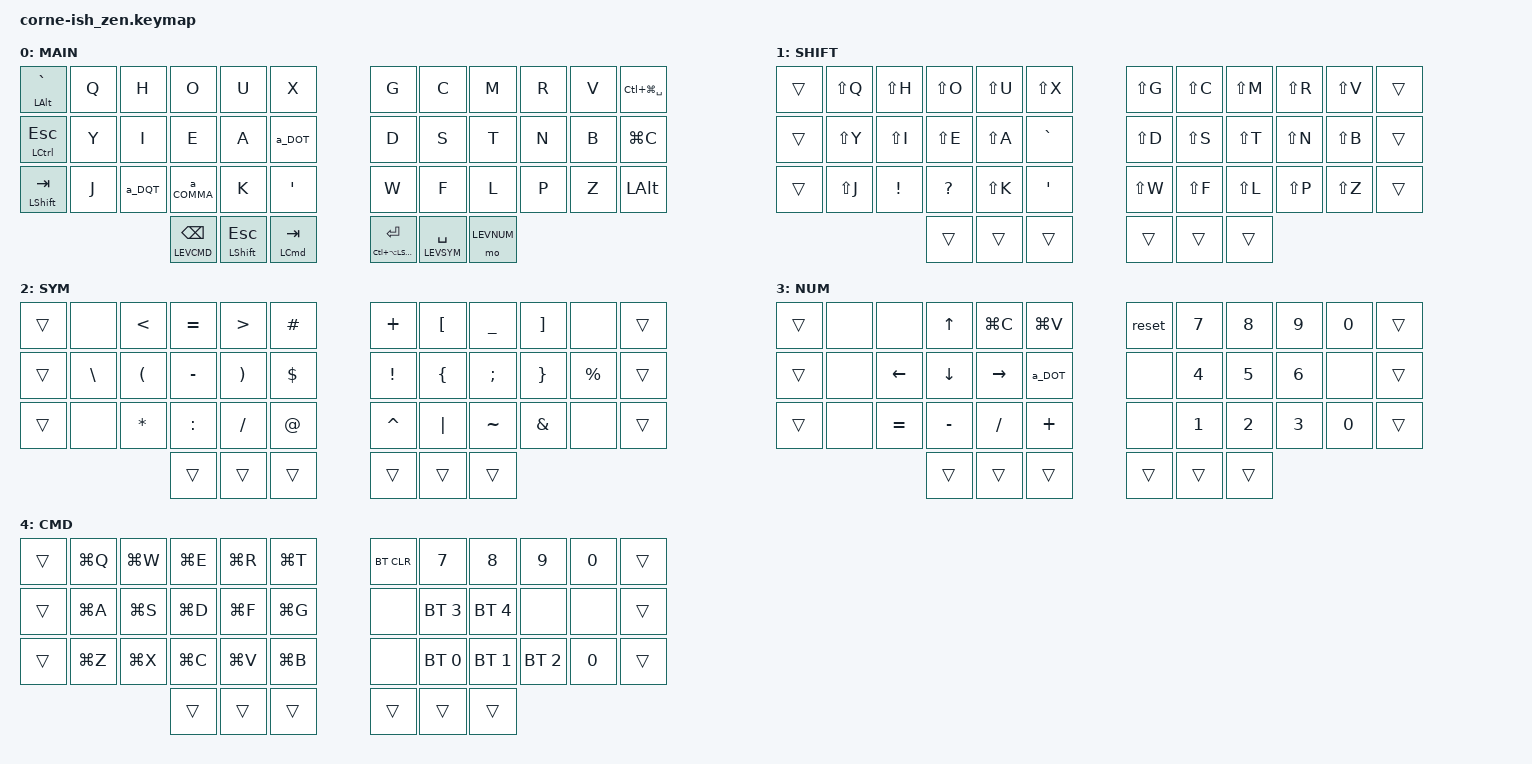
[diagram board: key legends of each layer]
/*
*
* Copyright (c) 2021 Darryl deHaan
* SPDX-License-Identifier: MIT
*
*/

#include <behaviors.dtsi>
#include <dt-bindings/zmk/keys.h>
#include <dt-bindings/zmk/bt.h>

#define LEVMAIN 0
#define LEVSHIFT 1
#define LEVSYM 2
#define LEVNUM 3
#define LEVCMD 4

&lt {
    quick-tap-ms = <300>;
};

/
{
        behaviors {
            a_DQT: a_DQT {
                compatible = "zmk,behavior-mod-morph";
                label = "a_DQT";
                #binding-cells = <0>;
                bindings = <&kp DQT>, <&kp EXCL>;
                mods = <(MOD_LSFT|MOD_RSFT)>;
            };
            a_COMMA: a_COMMA {
                compatible = "zmk,behavior-mod-morph";
                label = "a_COMMA";
                #binding-cells = <0>;
                bindings = <&kp COMMA>, <&kp QMARK>;
                mods = <(MOD_LSFT|MOD_RSFT)>;
            };
            a_DOT: a_DOT {
                compatible = "zmk,behavior-mod-morph";
                label = "a_DOT";
                #binding-cells = <0>;
                bindings = <&kp DOT>, <&kp GRAVE>;
                mods = <(MOD_LSFT|MOD_RSFT)>;
            };
        };


        keymap {
                compatible = "zmk,keymap";

                default_layer {
                        label = "MAIN";
                        bindings = <
&mt LALT GRAVE   &kp Q &kp H   &kp O     &kp U &kp X         &kp G   &kp C  &kp M  &kp R   &kp V    &kp LC(LG(SPACE))
&mt LCTRL ESC    &kp Y &kp I   &kp E     &kp A &a_DOT        &kp D   &kp S  &kp T  &kp N   &kp B    &kp LG(C)
&mt LSHIFT TAB   &kp J &a_DQT &a_COMMA &kp K &kp SQT         &kp W   &kp F  &kp L  &kp P   &kp Z    &kp LALT

&lt LEVCMD BSPC &mt LSHIFT ESC &mt LCMD TAB                &mt LC(LA(LSHIFT)) RET &lt LEVSYM SPACE &mo LEVNUM
                        >;
                };

                adjust_layer {
                        label = "SHIFT";
                        bindings = <
&trans &kp LS(Q) &kp LS(H)   &kp LS(O)     &kp LS(U) &kp LS(X)         &kp LS(G)   &kp LS(C)  &kp LS(M)  &kp LS(R)   &kp LS(V)    &trans
&trans &kp LS(Y) &kp LS(I)   &kp LS(E)     &kp LS(A) &kp GRAVE         &kp LS(D)   &kp LS(S)  &kp LS(T)  &kp LS(N)   &kp LS(B)    &trans
&trans &kp LS(J) &kp EXCL    &kp QMARK     &kp LS(K) &kp SQT           &kp LS(W)   &kp LS(F)  &kp LS(L)  &kp LS(P)   &kp LS(Z)    &trans

&trans &trans &trans                  &trans &trans &trans
                        >;
                };

                punct_layer {
                        label = "SYM";
                        bindings = <
&trans &none     &kp LT    &kp EQUAL &kp GT    &kp HASH      &kp PLUS  &kp LBKT &kp UNDER &kp RBKT &none       &trans
&trans &kp BSLH  &kp LPAR  &kp MINUS &kp RPAR  &kp DLLR      &kp EXCL  &kp LBRC &kp  SEMI &kp RBRC &kp PERCENT &trans
&trans &none     &kp STAR  &kp COLON &kp SLASH &kp AT        &kp CARET &kp PIPE &kp TILDE &kp AMPS &none       &trans

&trans &trans &trans                 &trans &trans &trans
                        >;
                };

                num_layer {
                        label = "NUM";
                        bindings = <
&trans &none &none    &kp UP   &kp LG(C) &kp LG(V)      &reset &kp N7 &kp N8 &kp N9 &kp N0 &trans
&trans &none &kp LEFT &kp DOWN &kp RIGHT &a_DOT         &none  &kp N4 &kp N5 &kp N6 &none  &trans
&trans &none &kp EQUAL &kp MINUS &kp SLASH  &kp PLUS    &none  &kp N1 &kp N2 &kp N3 &kp N0 &trans

&trans &trans &trans                 &trans &trans &trans
                        >;
                };

                shortcut_layer {
                        label = "CMD";
                        bindings = <
&trans &kp LG(Q) &kp LG(W) &kp LG(E) &kp LG(R) &kp LG(T)     &bt BT_CLR &kp N7 &kp N8 &kp N9 &kp N0 &trans
&trans &kp LG(A) &kp LG(S) &kp LG(D) &kp LG(F) &kp LG(G)     &none  &bt BT_SEL 3 &bt BT_SEL 4 &none &none  &trans
&trans &kp LG(Z) &kp LG(X) &kp LG(C) &kp LG(V) &kp LG(B)     &none  &bt BT_SEL 0 &bt BT_SEL 1 &bt BT_SEL 2 &kp N0 &trans

&trans &trans &trans                 &trans &trans &trans
                        >;
                };

        };
};
